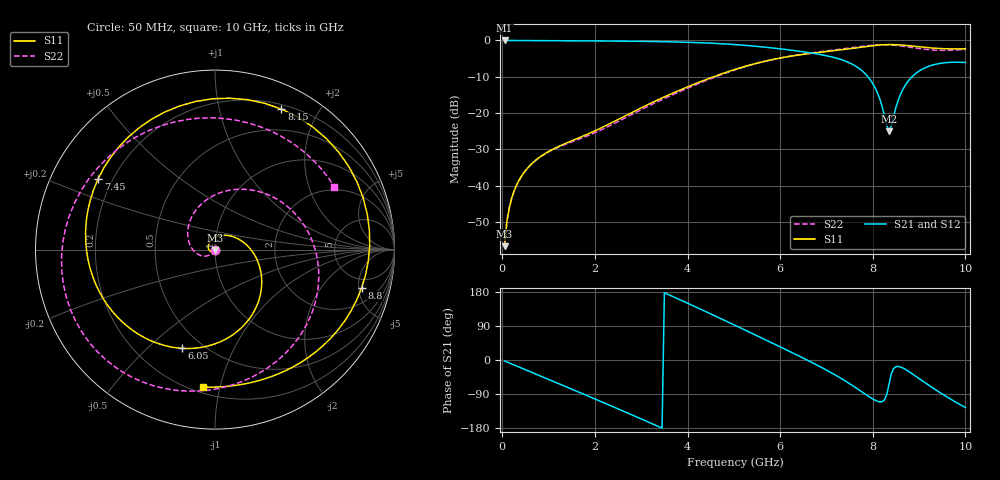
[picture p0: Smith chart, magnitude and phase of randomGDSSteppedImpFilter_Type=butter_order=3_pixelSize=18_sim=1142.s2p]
! freq	dB(S11)	phase(S11)	dB(S12)	phase(S12)
!  dB(S21)	phase(S21)	dB(S22)	phase(S22)
!S-par simulation data
#  GHz  S  DB  R 50
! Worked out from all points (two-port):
!   200 points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, 50 MHz to 10 GHz, reference 50 ohm
!   highest |S21| = 0.00 dB at 50 MHz (marker M1); lowest = -25.0 dB at 8.35 GHz (marker M2)
!   |S21| within 3 dB of the highest: start of sweep to 6.429 GHz
!   lowest |S11| = -56.7 dB at 50 MHz (marker M3), VSWR 1.00, Z = 50 - j0.145 ohm
!   |S11| at or under -10 dB: start of sweep to 4.562 GHz
!   |S22| runs from -55.9 to -1.2 dB; largest |S21 - S12| = 0
!   S11 on the Smith chart (normalised r, x): 50 MHz: 1.00, -0.00; 6.05 GHz: 0.39, -0.65; 7.45 GHz: 0.15, +0.27; 8.15 GHz: 0.25, +1.55; 8.8 GHz: 3.65, -5.41; 10 GHz: 0.24, -0.89
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0.05  -56.67 -81.5  -0.00 -2.6  -0.00 -2.6  -55.93 -74.3
0.1  -49.91 -88.7  -0.01 -5.2  -0.01 -5.2  -49.65 -84.7
0.2  -43.59 -99.9  -0.02 -10.3  -0.02 -10.3  -43.60 -92.8
0.45  -36.71 -120.9  -0.04 -23.1  -0.04 -23.1  -36.75 -104.3
1.15  -29.60 -175.5  -0.07 -58.9  -0.07 -58.9  -29.74 -125.7
1.75  -26.32 132.5  -0.11 -89.8  -0.11 -89.8  -26.75 -136.4
2.5  -21.77 71.2  -0.18 -128.9  -0.18 -128.9  -22.33 -152.2
3.4  -16.13 17.8  -0.33 -177.1  -0.33 -177.1  -16.57 165.5
3.85  -13.59 -3.3  -0.46 158.3  -0.46 158.3  -13.98 137.2
4.35  -11.01 -25.3  -0.67 130.3  -0.67 130.3  -11.30 103.5
5.05  -7.88 -56.8  -1.16 90.1  -1.16 90.1  -8.00 55.5
6.05  -4.74 -108.4  -2.38 31.8  -2.38 31.8  -4.70 -8.7
6.7  -3.51 -148.9  -3.52 -7.4  -3.52 -7.4  -3.38 -46.9
7.1  -2.91 -179.1  -4.50 -33.4  -4.50 -33.4  -2.73 -69.9
7.45  -2.37 148.7  -5.90 -58.7  -5.90 -58.7  -2.16 -91.0
7.85  -1.68 103.6  -9.35 -91.0  -9.35 -91.0  -1.51 -118.7
8.15  -1.25 64.7  -16.06 -110.5  -16.06 -110.5  -1.20 -143.7
8.35  -1.14 38.2  -25.00 -64.8  -25.00 -64.8  -1.21 -162.6
8.6  -1.24 7.2  -14.82 -18.5  -14.82 -18.5  -1.50 172.2
8.8  -1.47 -14.6  -10.66 -32.1  -10.66 -32.1  -1.86 151.1
9.35  -2.15 -59.5  -6.58 -78.0  -6.58 -78.0  -2.68 91.5
10  -2.30 -95.2  -6.07 -125.4  -6.07 -125.4  -2.48 27.8
